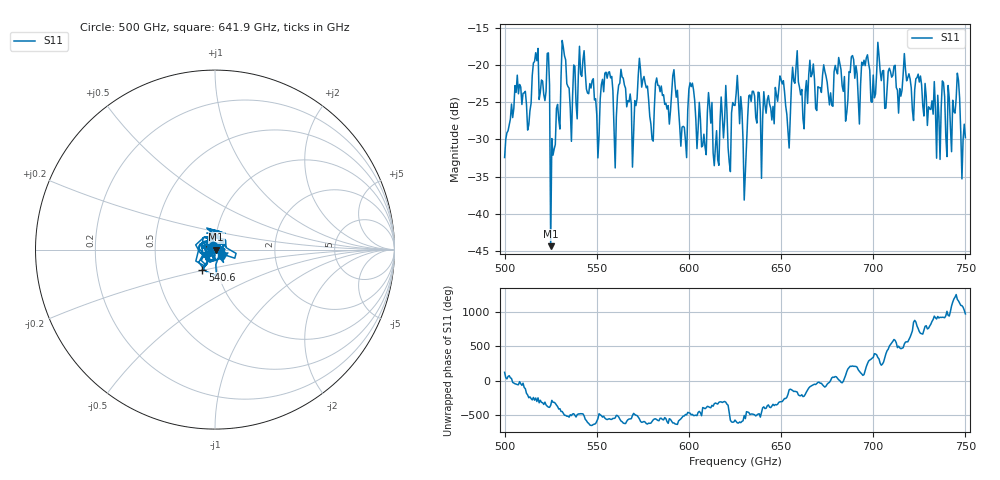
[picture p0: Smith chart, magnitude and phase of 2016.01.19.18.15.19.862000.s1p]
!Created with skrf (http://scikit-rf.org).
# GHz S RI R 50.0
!freq ReS11 ImS11
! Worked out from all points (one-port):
!   401 points, 500 GHz to 750 GHz, reference 50 ohm
!   lowest |S11| = -44.3 dB at 525 GHz (marker M1), VSWR 1.01, Z = 50.6 + j0.0282 ohm
!   |S11| at or under -10 dB: start of sweep to end of sweep
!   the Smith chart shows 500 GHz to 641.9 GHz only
!   S11 on the Smith chart (normalised r, x): 500 GHz: 0.97, +0.04; 540.6 GHz: 0.85, -0.19; 641.9 GHz: 1.07, -0.07
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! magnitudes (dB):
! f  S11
! 500 GHz  -32.4
! 506.9 GHz  -21.4
! 513.1 GHz  -28.0
! 516.9 GHz  -18.4
! 523.1 GHz  -18.5
! 525 GHz  -44.3
! 526.2 GHz  -32.1
! 531.2 GHz  -16.7
! 540.6 GHz  -17.5
! 550 GHz  -26.7
! 562.5 GHz  -22.5
! 570 GHz  -29.1
! 573.8 GHz  -20.7
! 580 GHz  -30.0
! 593.8 GHz  -23.4
! 597.5 GHz  -28.4
! 601.2 GHz  -22.9
! 608.1 GHz  -29.3
! 611.2 GHz  -25.5
! 615 GHz  -28.8
! 625 GHz  -25.5
! 630.6 GHz  -34.4
! 633.8 GHz  -24.9
! 641.9 GHz  -26.5
! 656.2 GHz  -20.3
! 687.5 GHz  -21.0
! 718.8 GHz  -21.7
! 750 GHz  -29.8
